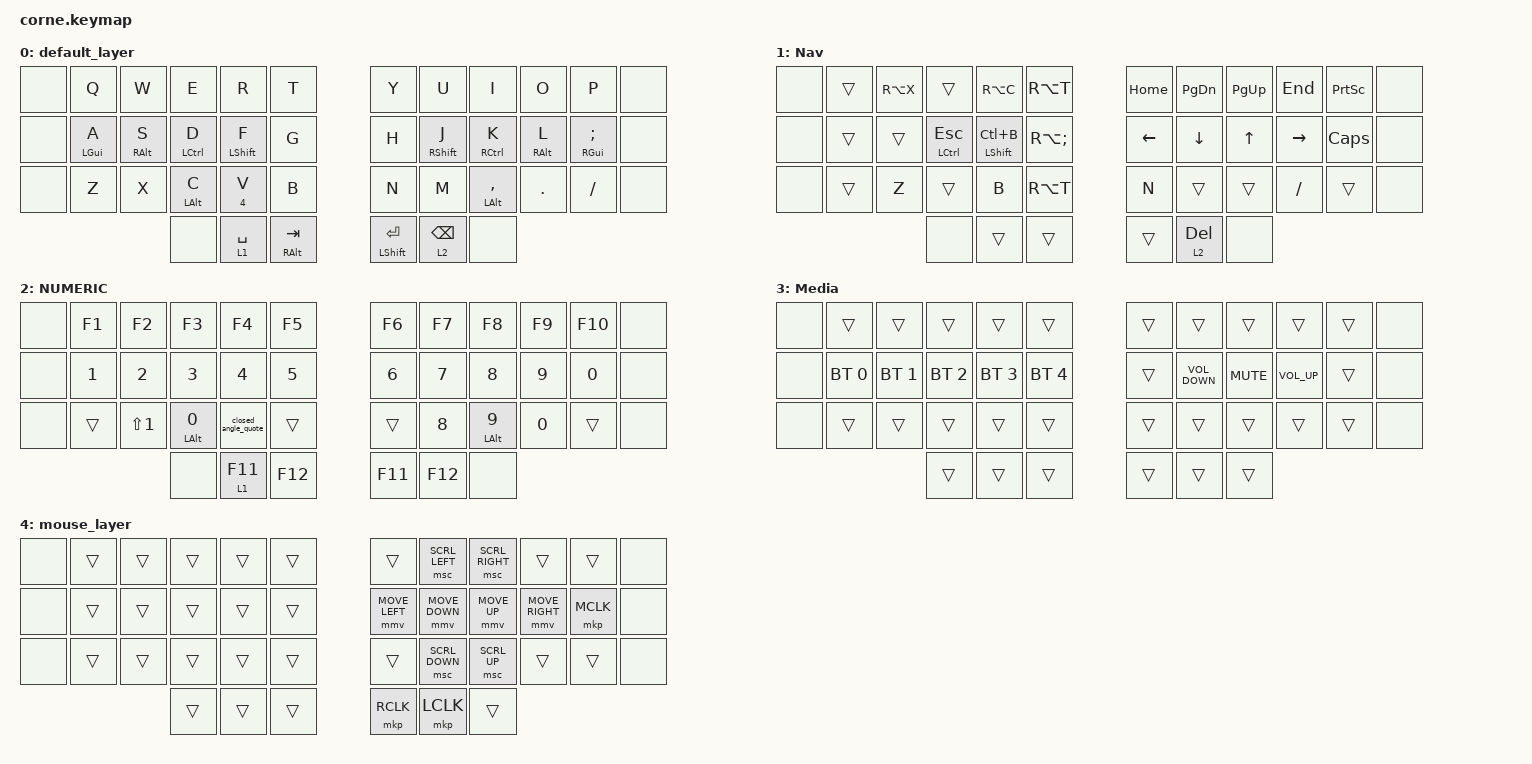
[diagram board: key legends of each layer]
/* 
 * Copyright (c) 2020 The ZMK Contributors
 *
 * SPDX-License-Identifier: MIT
 */

#include "ergol.h"
#include <dt-bindings/zmk/mouse.h>
#include <behaviors.dtsi>
#include <dt-bindings/zmk/bt.h>
#include <dt-bindings/zmk/keys.h>
#include <dt-bindings/zmk/pointing.h>

#define ZMK_POINTING_DEFAULT_MOVE_VAL 800  // Valeur du hummingbird
#define ZMK_POINTING_DEFAULT_SCRL_VAL 10   // Valeur du cradio
#define DEF_L 0
#define NAV_L 1
#define NUM_L 2
#define SYM_L 3
#define MOUSE_L 4

// Using layer taps on thumbs, having quick tap as well helps w/ repeating space/backspace

/ {
    behaviors {
        hml: hml {
            compatible = "zmk,behavior-hold-tap";
            flavor = "balanced";
            tapping-term-ms = <280>;
            quick-tap-ms = <175>;
            #binding-cells = <2>;
            bindings = <&kp>, <&kp>;
            hold-trigger-key-positions = <1 2 3 4 5 13 14 15 16 17 25 26 27 28 29 36 37 38>;
            require-prior-idle-ms = <150>;
            hold-trigger-on-release;
            label = "HML";
        };

        hmr: hmr {
            compatible = "zmk,behavior-hold-tap";
            flavor = "balanced";
            tapping-term-ms = <280>;
            quick-tap-ms = <175>;
            #binding-cells = <2>;
            bindings = <&kp>, <&kp>;
            hold-trigger-key-positions = <6 7 8 9 10 18 19 20 21 22 30 31 32 33 34 39 40 41>;
            require-prior-idle-ms = <150>;
            hold-trigger-on-release;
            label = "HMR";
        };

        f_hml: f_hml {
            compatible = "zmk,behavior-hold-tap";
            flavor = "balanced";
            tapping-term-ms = <200>;
            quick-tap-ms = <150>;
            #binding-cells = <2>;
            bindings = <&kp>, <&kp>;
            hold-trigger-key-positions = <1 2 3 4 5 13 14 15 16 17 25 26 27 28 29 36 37 38>;
            require-prior-idle-ms = <100>;
            hold-trigger-on-release;
            label = "F_HML";
        };

        f_hmr: f_hmr {
            compatible = "zmk,behavior-hold-tap";
            flavor = "balanced";
            tapping-term-ms = <200>;
            quick-tap-ms = <150>;
            #binding-cells = <2>;
            bindings = <&kp>, <&kp>;
            hold-trigger-key-positions = <6 7 8 9 10 18 19 20 21 22 30 31 32 33 34 39 40 41>;
            require-prior-idle-ms = <100>;
            hold-trigger-on-release;
            label = "F_HMR";
        };
    };

    combos {
        compatible = "zmk,combos";

        // Combos du cradio conservés

        Esc {
            bindings = <&kp ESCAPE>;
            key-positions = <1 2>;
        };

        Tab {
            bindings = <&kp TAB>;
            key-positions = <13 14>;
        };

        Del {
            bindings = <&mt RIGHT_ALT DELETE>;
            key-positions = <9 10>;
        };

        Media {
            bindings = <&mo 3>; // Layer SYM_L (Media)
            key-positions = <37 38>;
        };

        Ralt {
            bindings = <&kp RIGHT_ALT>;
            key-positions = <36 39>;
        };

    };

    macros {
        open_angle_quote: open_angle_quote {
            compatible = "zmk,behavior-macro";
            #binding-cells = <0>;
            bindings = <&kp LS(NUMBER_2) &kp LS(SPACE)>;
            label = "OPEN_ANGLE_QUOTE";
        };

        closed_angle_quote: closed_angle_quote {
            compatible = "zmk,behavior-macro";
            #binding-cells = <0>;
            bindings = <&kp LS(SPACE) &kp LS(NUMBER_3)>;
            label = "CLOSED_ANGLE_QUOTE";
        };
    };

    keymap {
        compatible = "zmk,keymap";

        default_layer {
            bindings = <
&none   &kp Q        &kp W        &kp E         &kp R           &kp T                &kp Y                 &kp U           &kp I            &kp O        &kp P                  &none
&none   &hml LGUI A  &hml RALT S  &hml LCTRL D  &f_hml LSHFT F  &kp G                &kp H                 &f_hmr RSHFT J  &hmr RCTRL K     &hmr RALT L  &hmr RGUI SEMICOLON    &none
&none   &kp Z        &kp X        &hml LALT C   &hml 4 V        &kp B                &kp N                 &kp M           &hmr LALT COMMA  &kp DOT      &kp FSLH               &none
                                  &none      &lt 1 SPACE     &mt RIGHT_ALT TAB    &mt LEFT_SHIFT ENTER  &lt 2 BSPC  &none
            >;
        };

        nav_layer {
            display-name = "Nav";
            bindings = <
&none   &trans  &kp RA(X)  &trans             &kp RA(C)              &kp RA(T)            &kp HOME  &kp PAGE_DOWN  &kp PG_UP     &kp END    &kp PRINTSCREEN     &none
&none   &trans  &trans     &hml LCTRL ESCAPE  &hml LEFT_SHIFT LC(B)  &kp RA(SEMICOLON)    &kp LEFT  &kp DOWN       &kp UP_ARROW  &kp RIGHT  &kp CAPS            &none
&none   &trans  &kp Z      &trans             &kp B                  &kp RA(T)            &kp N     &trans         &trans        &kp SLASH  &trans              &none
                           &none              &trans                 &trans               &trans    &lt 2 DELETE   &none
            >;
        };

        num_layer {
            display-name = "NUMERIC";
            bindings = <
&none   &kp F1  &kp F2      &kp F3        &kp F4               &kp F5     &kp F6   &kp F7   &kp F8        &kp F9  &kp F10    &none
&none   &kp N1  &kp N2      &kp N3        &kp N4               &kp N5     &kp N6   &kp N7   &kp N8        &kp N9  &kp N0     &none
&none   &trans  &kp LS(N1)  &hml LALT 0   &closed_angle_quote  &trans     &trans   &kp N8   &hmr LALT N9  &kp N0  &trans     &none
                                  &none     &lt 1 F11            &kp F12    &kp F11  &kp F12     &none
            >;
        };

        sym_layer {
            display-name = "Media";
            bindings = <
&none   &trans        &trans        &trans        &trans        &trans          &trans  &trans             &trans      &trans           &trans     &none
&none   &bt BT_SEL 0  &bt BT_SEL 1  &bt BT_SEL 2  &bt BT_SEL 3  &bt BT_SEL 4    &trans  &kp C_VOLUME_DOWN  &kp C_MUTE  &kp C_VOLUME_UP  &trans     &none
&none   &trans        &trans        &trans        &trans        &trans          &trans  &trans             &trans      &trans           &trans     &none
                                          &trans     &trans        &trans          &trans  &trans     &trans
            >;
        };

        mouse_layer {
            bindings = <
&none   &trans  &trans  &trans  &trans  &trans    &trans          &msc SCRL_LEFT  &msc SCRL_RIGHT  &trans           &trans     &none
&none   &trans  &trans  &trans  &trans  &trans    &mmv MOVE_LEFT  &mmv MOVE_DOWN  &mmv MOVE_UP     &mmv MOVE_RIGHT  &mkp MCLK  &none
&none   &trans  &trans  &trans  &trans  &trans    &trans          &msc SCRL_DOWN  &msc SCRL_UP     &trans           &trans     &none
                &trans  &trans  &trans    &mkp RCLK       &mkp LCLK     &trans
            >;
        };
    };

    conditional_layers {
        compatible = "zmk,conditional-layers";
        MediaLayer {
            if-layers = <1 2>;
            then-layer = <3>;
        };
    };
};
